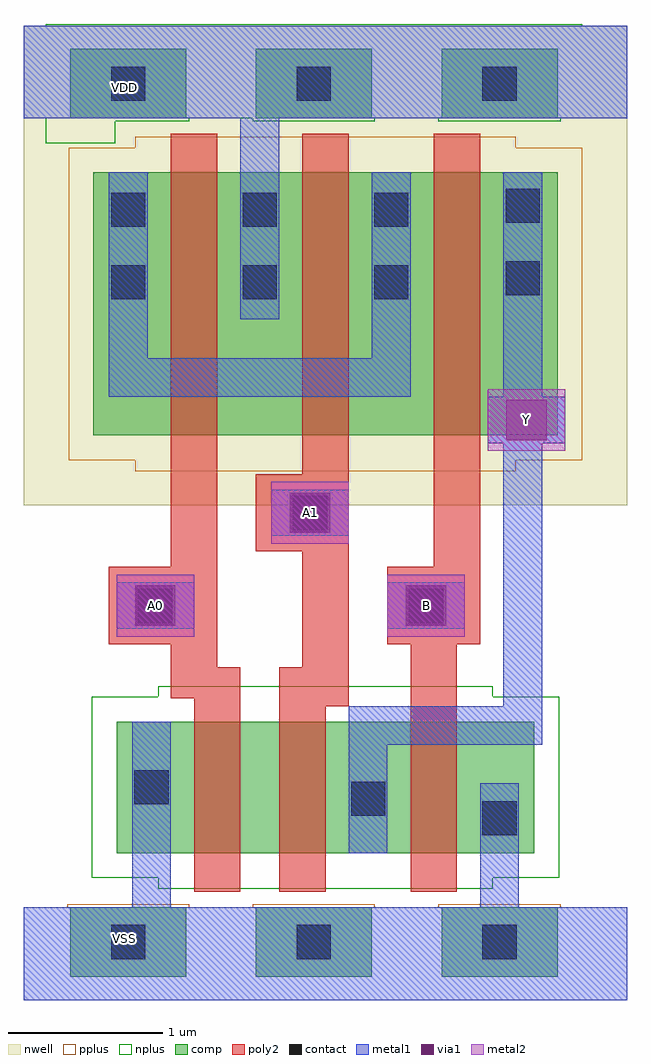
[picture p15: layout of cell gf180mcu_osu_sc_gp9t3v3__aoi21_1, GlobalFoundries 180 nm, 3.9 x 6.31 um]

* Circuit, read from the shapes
.subckt gf180mcu_osu_sc_gp9t3v3__aoi21_1 A0 A1 B VDD VSS Y
XM1 n1 A0 VSS VSS nfet_03v3 w=0.85u l=0.3u
XM2 Y A1 n1 VSS nfet_03v3 w=0.85u l=0.3u
XM3 VSS B Y VSS nfet_03v3 w=0.85u l=0.3u
XM4 VDD A0 n2 VDD pfet_03v3 w=1.7u l=0.3u
XM5 n2 A1 VDD VDD pfet_03v3 w=1.7u l=0.3u
XM6 Y B n2 VDD pfet_03v3 w=1.7u l=0.3u
.ends

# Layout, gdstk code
import gdstk
lib = gdstk.Library(unit=1e-6, precision=1e-09)
def R(c, l, rs):  # rectangles x0, y0, x1, y1
    for r in rs: c.add(gdstk.rectangle(r[:2], r[2:], *l))
def A(c, l, x, y, w, h, nx, ny, dx, dy):  # array of equal rectangles
    R(c, l, [(x+i*dx, y+j*dy, x+i*dx+w, y+j*dy+h) for i in range(nx) for j in range(ny)])
nwell = (21, 0)
comp = (22, 0)
poly2 = (30, 0)
pplus = (31, 0)
nplus = (32, 0)
contact = (33, 0)
metal1 = (34, 0)
via1 = (35, 0)
metal2 = (36, 0)

gf180mcu_osu_sc_gp9t3v3_ = lib.new_cell('gf180mcu_osu_sc_gp9t3v3__aoi21_1')
R(gf180mcu_osu_sc_gp9t3v3_, nwell, [(0,3.2,3.9,6.3)])
A(gf180mcu_osu_sc_gp9t3v3_, comp, 0.3, 0.15, 0.75, 0.45, 3, 2, 1.2, 5.55)
R(gf180mcu_osu_sc_gp9t3v3_, comp, [(0.6,0.95,3.3,1.8), (0.45,3.65,3.45,5.35)])
R(gf180mcu_osu_sc_gp9t3v3_, poly2, [(1.1,0.7,1.4,1.95), (1.65,0.7,1.95,1.9), (2.5,0.7,2.8,2.3), (1.65,1.9,2.1,2.15), (0.95,1.95,1.4,2.15), (0.95,2.15,1.25,2.3), (1.8,2.15,2.1,2.9), (0.55,2.3,1.25,2.8), (2.35,2.3,2.95,2.8), (0.95,2.8,1.25,5.6), (2.65,2.8,2.95,5.6), (1.5,2.9,2.1,3.4), (1.8,3.4,2.1,5.6)])
A(gf180mcu_osu_sc_gp9t3v3_, pplus, 0.28, 0.13, 0.79, 0.49, 3, 1, 1.2, 0)
R(gf180mcu_osu_sc_gp9t3v3_, pplus, [(0,0,3.9,0.6), (0.72,3.42,3.18,3.49), (0.29,3.49,3.61,5.51), (0.72,5.51,3.18,5.58)])
R(gf180mcu_osu_sc_gp9t3v3_, nplus, [(0.87,0.72,3.03,0.79), (0.44,0.79,3.46,1.96), (0.87,1.96,3.03,2.03), (0.14,5.54,0.59,5.68), (0.14,5.68,1.07,5.7), (1.48,5.68,2.27,5.7), (2.68,5.68,3.47,5.7), (0,5.7,3.9,6.3), (0,5.7,3.9,6.3), (0.14,6.3,3.61,6.31)])
A(gf180mcu_osu_sc_gp9t3v3_, contact, 0.565, 0.265, 0.22, 0.22, 3, 2, 1.2, 5.55)
A(gf180mcu_osu_sc_gp9t3v3_, contact, 0.565, 4.53, 0.22, 0.22, 3, 2, 0.85, 0.47)
R(gf180mcu_osu_sc_gp9t3v3_, contact, [(2.965,1.065,3.185,1.285), (2.115,1.19,2.335,1.41), (0.715,1.265,0.935,1.485), (0.74,2.44,0.96,2.66), (2.49,2.44,2.71,2.66), (1.74,3.04,1.96,3.26), (3.115,4.555,3.335,4.775), (3.115,5.025,3.335,5.245)])
R(gf180mcu_osu_sc_gp9t3v3_, metal1, [(0,0,3.9,0.6), (0.7,0.6,0.95,1.8), (2.95,0.6,3.2,1.4), (2.1,0.95,2.35,1.65), (2.1,1.65,3.35,1.9), (3.1,1.9,3.35,3.6), (0.6,2.4,1.1,2.7), (2.35,2.4,2.85,2.7), (1.6,3,2.1,3.3), (3,3.6,3.5,3.9), (0.55,3.9,2.5,4.15), (3.1,3.9,3.35,5.35), (0.55,4.15,0.8,5.35), (2.25,4.15,2.5,5.35), (1.4,4.4,1.65,5.7), (0,5.7,3.9,6.3)])
R(gf180mcu_osu_sc_gp9t3v3_, via1, [(0.72,2.42,0.98,2.68), (2.47,2.42,2.73,2.68), (1.72,3.02,1.98,3.28), (3.12,3.62,3.38,3.88)])
R(gf180mcu_osu_sc_gp9t3v3_, metal2, [(0.6,2.35,1.1,2.75), (2.35,2.35,2.85,2.75), (1.6,2.95,2.1,3.35), (3,3.55,3.5,3.95)])
gf180mcu_osu_sc_gp9t3v3_.add(gdstk.Label('VDD', (0.65,5.9), layer=22, texttype=0))
gf180mcu_osu_sc_gp9t3v3_.add(gdstk.Label('VSS', (0.65,0.4), layer=22, texttype=0))
gf180mcu_osu_sc_gp9t3v3_.add(gdstk.Label('A0', (0.85,2.55), layer=36, texttype=10))
gf180mcu_osu_sc_gp9t3v3_.add(gdstk.Label('A1', (1.85,3.15), layer=36, texttype=10))
gf180mcu_osu_sc_gp9t3v3_.add(gdstk.Label('B', (2.6,2.55), layer=36, texttype=10))
gf180mcu_osu_sc_gp9t3v3_.add(gdstk.Label('Y', (3.25,3.75), layer=36, texttype=10))

lib.write_gds('gf180mcu_osu_sc_gp9t3v3__aoi21_1.gds')
